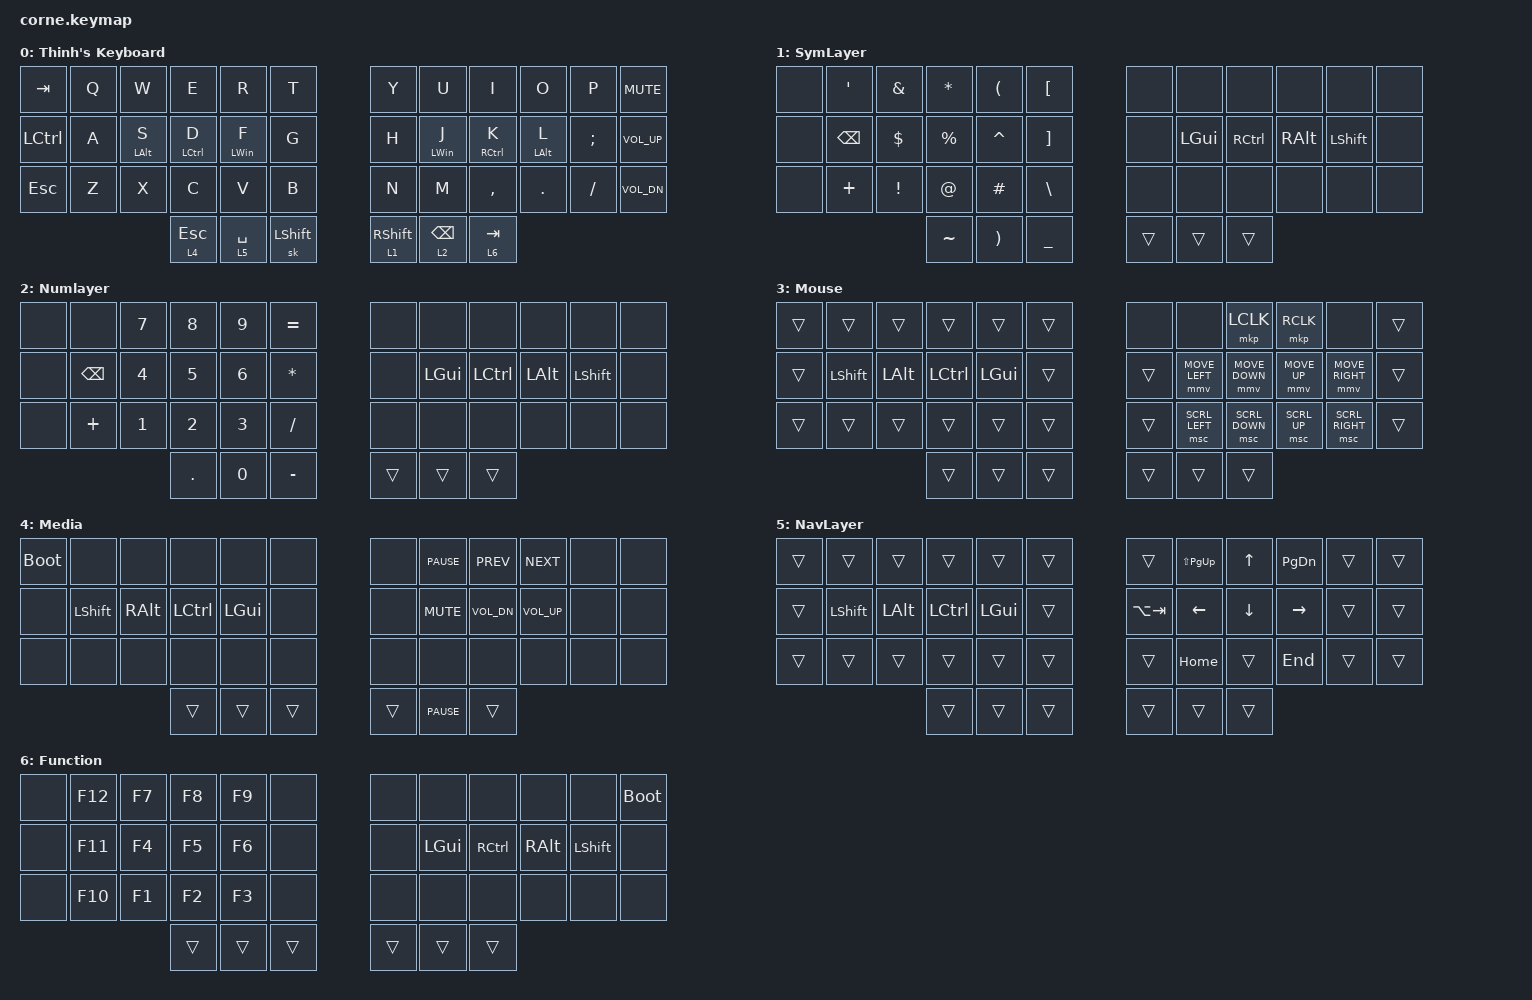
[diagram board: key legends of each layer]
/*
 * Copyright (c) 2020 The ZMK Contributors
 * Miryoku Layout Implementation for Corne Keyboard
 *
 * SPDX-License-Identifier: MIT
 */

#include <dt-bindings/zmk/mouse.h>
#include <behaviors.dtsi>
#include <dt-bindings/zmk/keys.h>
#include <dt-bindings/zmk/pointing.h>

/* Layer definitions for Miryoku layout */

#define BASE   0
#define NAV    1
#define MOUSE  2
#define MEDIA  3
#define NUM    4
#define SYM    5
#define FUN    6

&sl {
    release-after-ms = <1000>;
    quick-release;  // <--- Just this line. No "tap".
};

&sk { quick-release; };

/ {
    behaviors {
        /* Home Row Mods*/

        hm: homerow_mods {
            compatible = "zmk,behavior-hold-tap";
            #binding-cells = <2>;
            tapping-term-ms = <200>;
            quick-tap-ms = <0>;
            flavor = "tap-preferred";
            bindings = <&kp>, <&kp>;
        };

        /* Thumb layer keys */

        lt: layer_tap {
            compatible = "zmk,behavior-hold-tap";
            #binding-cells = <2>;
            tapping-term-ms = <200>;
            flavor = "tap-preferred";
            bindings = <&mo>, <&kp>;
        };
    };

    combos {
        compatible = "zmk,combos";

        semicolon {
            bindings = <&kp SEMICOLON>;
            key-positions = <32 33>;
            layers = <0>;
        };

        Caps {
            bindings = <&kp CLCK>;
            key-positions = <36 41>;
        };

        QKey {
            bindings = <&kp Q>;
            key-positions = <2 3>;
        };

        PKey {
            bindings = <&kp P>;
            key-positions = <8 9>;
        };

        AltTap {
            bindings = <&kp LA(TAB)>;
            key-positions = <19 20 21>;
        };
    };

    keymap {
        compatible = "zmk,keymap";

        /* Layer 0: BASE - Miryoku Colemak-DHm */

        default_layer {
            display-name = "Thinh's Keyboard";
            bindings = <
&kp TAB    &kp Q  &kp W           &kp E               &kp R           &kp T             &kp Y              &kp U            &kp I                &kp O           &kp P     &kp C_MUTE
&kp LCTRL  &kp A  &hm LEFT_ALT S  &hm LEFT_CONTROL D  &hm LEFT_WIN F  &kp G             &kp H              &hm LEFT_WIN J   &hm RIGHT_CONTROL K  &hm LEFT_ALT L  &kp SEMI  &kp C_VOL_UP
&kp ESC    &kp Z  &kp X           &kp C               &kp V           &kp B             &kp N              &kp M            &kp COMMA            &kp DOT         &kp FSLH  &kp C_VOL_DN
                                  &lt 4 ESC           &lt 5 SPACE     &sk LEFT_SHIFT    &lt 1 RIGHT_SHIFT  &lt 2 BACKSPACE  &lt 6 TAB
            >;
        };

        Sym {
            display-name = "SymLayer";
            bindings = <
&none  &kp SINGLE_QUOTE  &kp AMPERSAND    &kp ASTERISK  &kp LEFT_PARENTHESIS   &kp LEFT_BRACKET     &none   &none     &none      &none     &none           &none
&none  &kp BACKSPACE     &kp DOLLAR       &kp PERCENT   &kp CARET              &kp RIGHT_BRACKET    &none   &kp LGUI  &kp RCTRL  &kp RALT  &kp LEFT_SHIFT  &none
&none  &kp PLUS          &kp EXCLAMATION  &kp AT_SIGN   &kp HASH               &kp BSLH             &none   &none     &none      &none     &none           &none
                                          &kp TILDE     &kp RIGHT_PARENTHESIS  &kp UNDERSCORE       &trans  &trans    &trans
            >;
        };

        Num {
            display-name = "Numlayer";
            bindings = <
&none  &none          &kp N7  &kp N8      &kp N9  &kp EQUAL       &none   &none         &none             &none         &none           &none
&none  &kp BACKSPACE  &kp N4  &kp N5      &kp N6  &kp ASTERISK    &none   &kp LEFT_GUI  &kp LEFT_CONTROL  &kp LEFT_ALT  &kp LEFT_SHIFT  &none
&none  &kp PLUS       &kp N1  &kp N2      &kp N3  &kp SLASH       &none   &none         &none             &none         &none           &none
                              &kp PERIOD  &kp N0  &kp MINUS       &trans  &trans        &trans
            >;
        };

        mouse_layer {
            display-name = "Mouse";
            bindings = <
&trans  &trans          &trans    &trans     &trans        &trans    &none   &none           &mkp LCLK       &mkp RCLK     &none            &trans
&trans  &kp LEFT_SHIFT  &kp LALT  &kp LCTRL  &kp LEFT_GUI  &trans    &trans  &mmv MOVE_LEFT  &mmv MOVE_DOWN  &mmv MOVE_UP  &mmv MOVE_RIGHT  &trans
&trans  &trans          &trans    &trans     &trans        &trans    &trans  &msc SCRL_LEFT  &msc SCRL_DOWN  &msc SCRL_UP  &msc SCRL_RIGHT  &trans
                                  &trans     &trans        &trans    &trans  &trans          &trans
            >;
        };

        media_layer {
            display-name = "Media";
            bindings = <
&bootloader  &none           &none     &none      &none         &none     &none   &kp C_PAUSE  &kp C_PREV    &kp C_NEXT    &none  &none
&none        &kp LEFT_SHIFT  &kp RALT  &kp LCTRL  &kp LEFT_GUI  &none     &none   &kp C_MUTE   &kp C_VOL_DN  &kp C_VOL_UP  &none  &none
&none        &none           &none     &none      &none         &none     &none   &none        &none         &none         &none  &none
                                       &trans     &trans        &trans    &trans  &kp C_PAUSE  &trans
            >;
        };

        NavLayer {
            bindings = <
&trans  &trans          &trans        &trans     &trans        &trans    &trans       &kp LS(PAGE_UP)  &kp UP    &kp PAGE_DOWN  &trans  &trans
&trans  &kp LEFT_SHIFT  &kp LEFT_ALT  &kp LCTRL  &kp LEFT_GUI  &trans    &kp LA(TAB)  &kp LEFT         &kp DOWN  &kp RIGHT      &trans  &trans
&trans  &trans          &trans        &trans     &trans        &trans    &trans       &kp HOME         &trans    &kp END        &trans  &trans
                                      &trans     &trans        &trans    &trans       &trans           &trans
            >;
        };

        fun_layer {
            display-name = "Function";
            bindings = <
&none  &kp F12  &kp F7  &kp F8  &kp F9  &none     &none   &none         &none      &none     &none           &bootloader
&none  &kp F11  &kp F4  &kp F5  &kp F6  &none     &none   &kp LEFT_GUI  &kp RCTRL  &kp RALT  &kp LEFT_SHIFT  &none
&none  &kp F10  &kp F1  &kp F2  &kp F3  &none     &none   &none         &none      &none     &none           &none
                        &trans  &trans  &trans    &trans  &trans        &trans
            >;
        };
    };

    conditional_layers { compatible = "zmk,conditional-layers"; };
};
